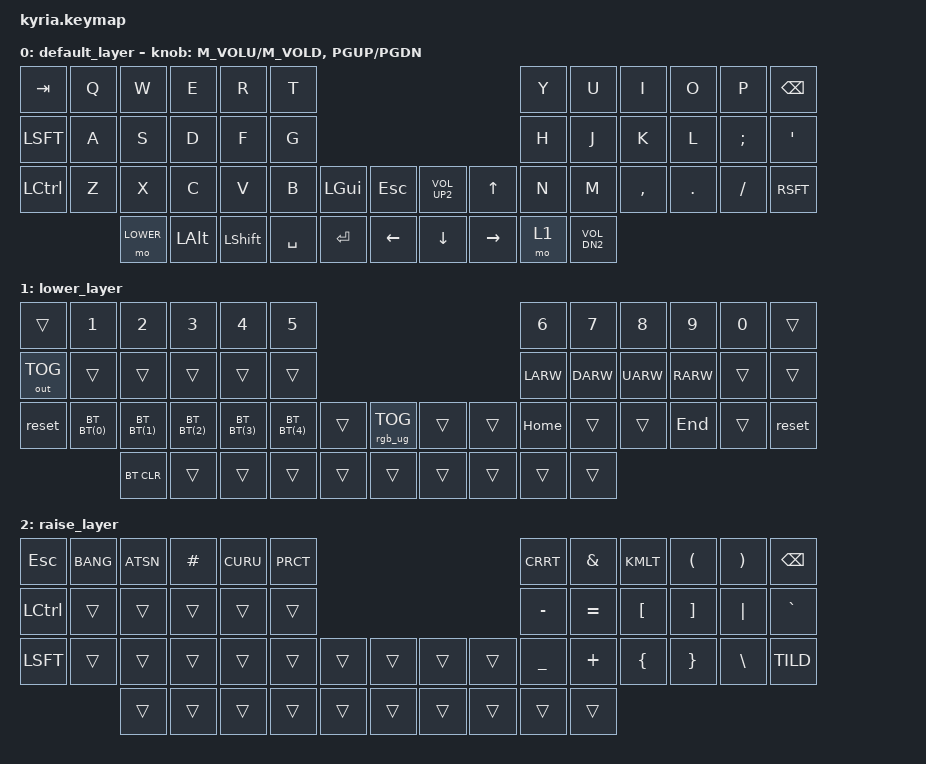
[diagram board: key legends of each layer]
#include <behaviors.dtsi>
#include <dt-bindings/zmk/keys.h>
#include <dt-bindings/zmk/bt.h>
#include <dt-bindings/zmk/outputs.h>
#include <dt-bindings/zmk/rgb.h>

#define DEFAULT 0
#define LOWER   1
#define RAISE   2

# define BT(n) BT_SEL n

/ {
	keymap {
		compatible = "zmk,keymap";

		default_layer {
// ---------------------------------------------------------------------------------------------------------------------------------
// |  TAB  |  Q  |  W  |  E   |  R   |  T   |                                          |  Y   |  U    |  I    |  O   |   P   |   \  |
// |  CTL  |  A  |  S  |  D   |  F   |  G   |                                          |  H   |  J    |  K    |  L   |   ;   |   '  |
// | SHIFT |  Z  |  X  |  C   |  V   |  B   | L SHIFT | L SHIFT |  | L SHIFT | L SHIFT |  N   |  M    |  ,    |  .   |   /   | CTRL |
//                     | DEL  | GUI  | RET  |  SPACE  |  LOWER  |  |  RAISE  |  SPACE  | TAB  | BSPC  | R-ALT |
			bindings = <
	&kp TAB  &kp Q &kp W &kp E        &kp R        &kp T                                            &kp Y &kp U &kp I    &kp O   &kp P    &kp BKSP
	&kp LSFT  &kp A &kp S &kp D &kp F &kp G                                       &kp H &kp J &kp K    &kp L   &kp SCLN &kp QUOT
	&kp LCTL &kp Z &kp X &kp C        &kp V        &kp B &kp LGUI &kp ESC       &kp K_VOL_UP2 &kp UP &kp N &kp M &kp CMMA &kp DOT &kp FSLH &kp RSFT
	              &mo LOWER &kp LALT  &kp LSHFT &kp SPACE &kp RET           &kp LEFT  &kp DOWN  &kp RIGHT &mo 1 &kp K_VOL_DN2
			>;

			sensor-bindings = <&inc_dec_cp M_VOLU M_VOLD &inc_dec_kp PGUP PGDN>;
		};

		lower_layer {
// ---------------------------------------------------------------------------------------------------------------------------------
// |    |  1  |  2  |  3   |  4   |  5   |                                      |  6   |  7    | 8  | 9  |  0   |      |
// |    |     |     |      |      |      |                                      |  ⬅   |  ⬇    | ⬆  | ➡  |      |      |
// |    | BT0 | BT1 | BT2  | BT3  | BT4  | LSFT | LSFT   |  | LSFT | LSFT |     |      |       |    |    | CTRL |
//                  |      |      |      |      | BT CLR |  | RET  | SPC  | TAB | BSPC | R-ALT |
			bindings = <
	&trans &kp NUM_1 &kp NUM_2 &kp NUM_3  &kp NUM_4 &kp NUM_5                                  &kp NUM_6 &kp NUM_7 &kp NUM_8 &kp NUM_9 &kp NUM_0 &trans
	&out OUT_TOG &trans    &trans    &trans     &trans    &trans                               &kp LARW  &kp DARW  &kp UARW  &kp RARW  &trans    &trans
	&reset &bt BT(0) &bt BT(1) &bt BT(2)  &bt BT(3) &bt BT(4) &trans &rgb_ug RGB_TOG &trans &trans &kp HOME  &trans    &trans    &kp END   &trans    &reset
	                           &bt BT_CLR &trans    &trans    &trans &trans      &trans &trans &trans    &trans    &trans
			>;

			// sensor-bindings = <&inc_dec_cp M_VOLU M_VOLD &inc_dec_kp PGUP PGDN>;
		};

		raise_layer {
// ---------------------------------------------------------------------------------------------------------------------------------
// |  ESC |  !  |  @  |  #  |  $  |  %  |                 ~            |  ^  |  &  |  *  |  (  |  )  | BKSP |
// | CTRL |     |     |     |     |     |                 ~            |  -  |  =  |  {  |  }  | "|" |  `   |
// | SHFT |     |     |     |     |     |      |        | ~ |     |    |  _  |  +  |  [  |  ]  |  \  |  ~   | // TODO: Fix this row when &mkp is committed
//                 |      |      |      |      |        | ~ |     |    |     |     |     |
			bindings = <
   &kp  ESC &kp BANG  &kp ATSN  &kp HASH  &kp CURU  &kp PRCT                               &kp CRRT  &kp AMPS &kp KMLT &kp LPRN &kp RPRN &kp BKSP
   &kp LCTL &trans    &trans    &trans    &trans    &trans                                 &kp MINUS &kp EQL  &kp LBKT &kp RBKT &kp PIPE &kp GRAV
   &kp LSFT &trans    &trans    &trans    &trans    &trans   &trans &trans  &trans &trans  &kp UNDER &kp PLUS &kp LBRC &kp RBRC &kp BSLH &kp TILD
	              &trans &trans    &trans &trans &trans           &trans &trans   &trans &trans &trans
			>;

			// sensor-bindings = <&inc_dec_cp M_VOLU M_VOLD &inc_dec_kp PGUP PGDN>;
		};
	};
};
